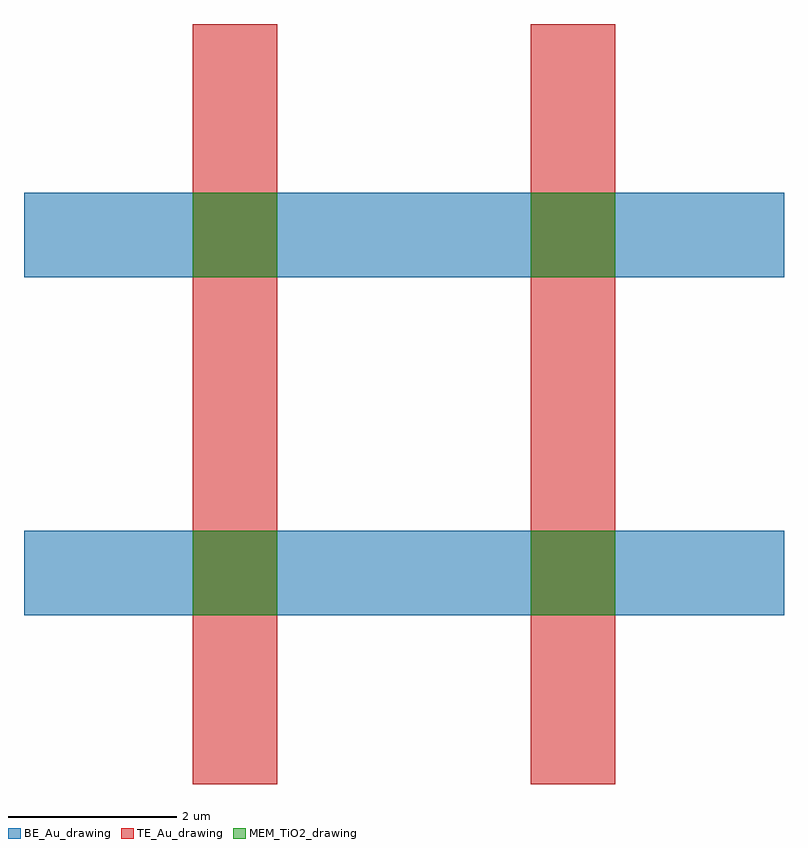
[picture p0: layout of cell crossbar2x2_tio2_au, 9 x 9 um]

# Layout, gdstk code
import gdstk
lib = gdstk.Library(unit=1e-6, precision=1e-09)
def R(c, l, rs):  # rectangles x0, y0, x1, y1
    for r in rs: c.add(gdstk.rectangle(r[:2], r[2:], *l))
BE_Au_drawing = (10, 0)
MEM_TiO2_drawing = (11, 0)
TE_Au_drawing = (20, 0)

crossbar2x2_tio2_au = lib.new_cell('crossbar2x2_tio2_au')
R(crossbar2x2_tio2_au, BE_Au_drawing, [(0,2,9,3), (0,6,9,7)])
R(crossbar2x2_tio2_au, MEM_TiO2_drawing, [(2,2,3,3), (6,2,7,3), (2,6,3,7), (6,6,7,7)])
R(crossbar2x2_tio2_au, TE_Au_drawing, [(2,0,3,9), (6,0,7,9)])

lib.write_gds('crossbar2x2_tio2_au.gds')
